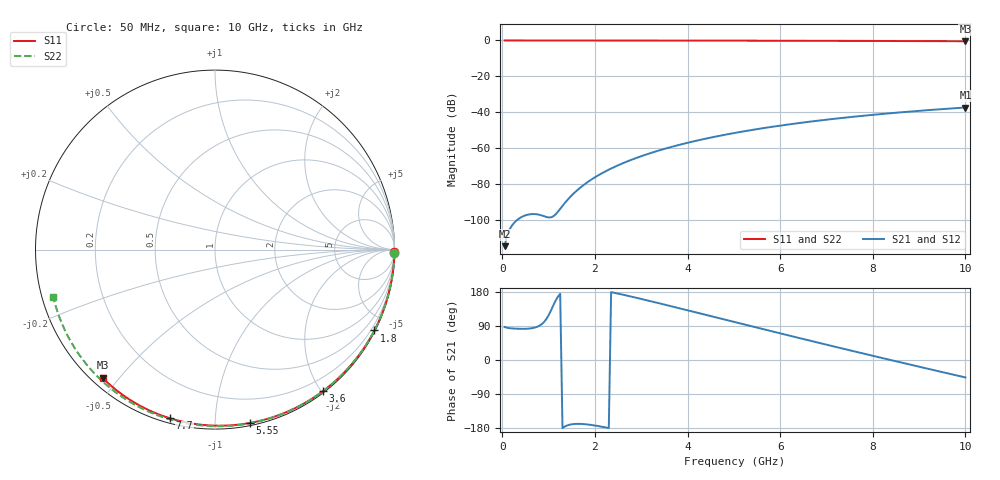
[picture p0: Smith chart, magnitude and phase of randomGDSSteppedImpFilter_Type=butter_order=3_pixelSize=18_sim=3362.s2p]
! freq	dB(S11)	phase(S11)	dB(S12)	phase(S12)
!  dB(S21)	phase(S21)	dB(S22)	phase(S22)
!S-par simulation data
#  GHz  S  DB  R 50
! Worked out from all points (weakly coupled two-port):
!   200 points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, 50 MHz to 10 GHz, reference 50 ohm
!   highest |S21| = -37.40 dB at 10 GHz (marker M1); lowest = -114.7 dB at 50 MHz (marker M2)
!   lowest |S11| = -0.4 dB at 10 GHz (marker M3), VSWR 39.13, Z = 1.54 - j22.6 ohm
!   |S11| at or under -10 dB: nowhere
!   |S22| runs from -0.5 to 0.0 dB; largest |S21 - S12| = 0
!   S11 on the Smith chart (normalised r, x): 50 MHz: open; 1.8 GHz: 0.04, -4.18; 3.6 GHz: 0.02, -2.02; 5.55 GHz: 0.02, -1.22; 7.7 GHz: 0.02, -0.77; 10 GHz: 0.03, -0.45
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0.05  -0.00 -0.8  -114.75 87.1  -114.75 87.1  -0.00 -0.9
0.45  -0.01 -6.8  -98.06 82.2  -98.06 82.2  -0.01 -8.4
0.85  -0.02 -12.8  -97.58 94.4  -97.58 94.4  -0.02 -15.8
1.3  -0.02 -19.5  -92.27 -179.6  -92.27 -179.6  -0.03 -24.0
1.75  -0.03 -26.2  -80.75 -169.0  -80.75 -169.0  -0.04 -32.2
1.8  -0.03 -26.9  -79.79 -169.6  -79.79 -169.6  -0.04 -33.1
1.95  -0.04 -29.1  -77.15 -171.9  -77.15 -171.9  -0.05 -35.8
2.1  -0.04 -31.3  -74.82 -174.9  -74.82 -174.9  -0.05 -38.4
2.3  -0.04 -34.2  -72.07 -179.6  -72.07 -179.6  -0.05 -42.0
2.5  -0.05 -37.1  -69.64 175.2  -69.64 175.2  -0.06 -45.5
2.9  -0.06 -42.8  -65.48 164.0  -65.48 164.0  -0.07 -52.5
3.4  -0.07 -49.8  -61.23 149.3  -61.23 149.3  -0.08 -61.1
3.6  -0.07 -52.6  -59.75 143.3  -59.75 143.3  -0.09 -64.4
4.3  -0.09 -62.2  -55.29 122.0  -55.29 122.0  -0.11 -76.0
5.05  -0.11 -72.1  -51.44 99.1  -51.44 99.1  -0.14 -88.1
5.55  -0.13 -78.6  -49.26 83.9  -49.26 83.9  -0.16 -96.0
6.1  -0.15 -85.5  -47.14 67.3  -47.14 67.3  -0.19 -104.5
6.7  -0.18 -92.9  -45.11 49.3  -45.11 49.3  -0.22 -113.6
7.7  -0.24 -104.9  -42.25 19.8  -42.25 19.8  -0.30 -128.6
8.35  -0.29 -112.5  -40.66 0.9  -40.66 0.9  -0.36 -138.4
9.2  -0.36 -122.2  -38.86 -23.4  -38.86 -23.4  -0.45 -151.3
10  -0.44 -131.3  -37.40 -46.0  -37.40 -46.0  -0.55 -163.8
